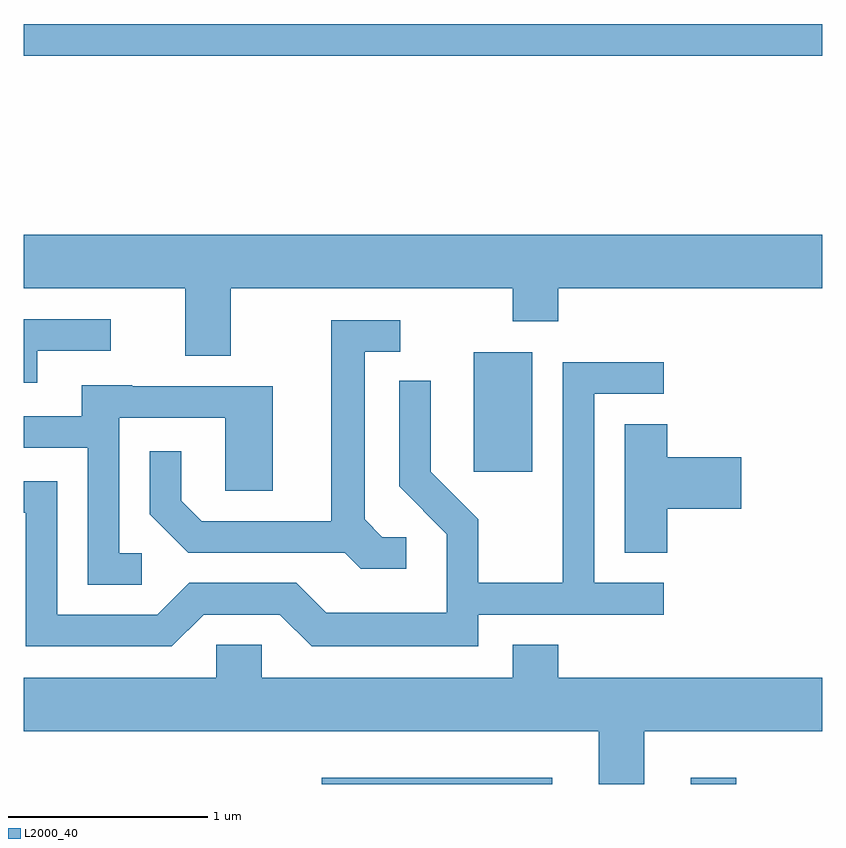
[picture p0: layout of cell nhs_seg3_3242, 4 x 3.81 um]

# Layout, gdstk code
import gdstk
lib = gdstk.Library(unit=1e-6, precision=1e-09)
def R(c, l, rs):  # rectangles x0, y0, x1, y1
    for r in rs: c.add(gdstk.rectangle(r[:2], r[2:], *l))
def P(c, l, *ps):  # polygons
    for p in ps: c.add(gdstk.Polygon(p, *l))
L2000_40 = (2000, 40)

nhs_seg3_3242 = lib.new_cell('nhs_seg3_3242')
R(nhs_seg3_3242, L2000_40, [(281.103,1207.892,282.259,1207.924), (282.951,1207.892,283.179,1207.924), (281.866,1209.456,282.159,1210.054), (279.611,1211.541,283.611,1211.699)])
P(nhs_seg3_3242, L2000_40, [(280.649,1210.376),(282.061,1210.376),(282.061,1210.211),(282.289,1210.211),(282.289,1210.376),(283.611,1210.376),(283.611,1210.644),(279.611,1210.644),(279.611,1210.376),(280.421,1210.376),(280.421,1210.036),(280.649,1210.036)],
  [(279.679,1210.061),(280.048,1210.061),(280.048,1210.219),(279.611,1210.219),(279.611,1209.901),(279.679,1209.901)],
  [(281.528,1209.129),(281.407,1209.129),(281.319,1209.217),(281.319,1210.056),(281.498,1210.056),(281.498,1210.214),(281.151,1210.214),(281.151,1209.209),(280.502,1209.209),(280.399,1209.312),(280.399,1209.558),(280.241,1209.558),(280.241,1209.244),(280.434,1209.051),(281.219,1209.051),(281.299,1208.971),(281.528,1208.971)],
  [(280.512,1208.741),(280.894,1208.741),(281.054,1208.581),(281.889,1208.581),(281.889,1208.741),(282.818,1208.741),(282.818,1208.899),(282.469,1208.899),(282.469,1209.846),(282.818,1209.846),(282.818,1210.004),(282.311,1210.004),(282.311,1208.899),(281.889,1208.899),(281.889,1209.217),(281.649,1209.457),(281.649,1209.913),(281.491,1209.913),(281.491,1209.384),(281.731,1209.144),(281.731,1208.749),(281.127,1208.749),(280.977,1208.899),(280.439,1208.899),(280.279,1208.739),(279.779,1208.739),(279.779,1209.409),(279.611,1209.409),(279.611,1209.251),(279.621,1209.251),(279.621,1208.581),(280.352,1208.581)],
  [(280.203,1209.049),(280.089,1209.049),(280.089,1209.726),(280.621,1209.726),(280.621,1209.361),(280.859,1209.361),(280.859,1209.884),(280.155,1209.884),(280.155,1209.889),(279.901,1209.889),(279.901,1209.734),(279.611,1209.734),(279.611,1209.576),(279.931,1209.576),(279.931,1208.891),(280.203,1208.891)],
  [(282.834,1209.271),(283.204,1209.271),(283.204,1209.529),(282.834,1209.529),(282.834,1209.694),(282.621,1209.694),(282.621,1209.051),(282.834,1209.051)],
  [(282.719,1208.156),(283.611,1208.156),(283.611,1208.424),(282.289,1208.424),(282.289,1208.589),(282.061,1208.589),(282.061,1208.424),(280.804,1208.424),(280.804,1208.589),(280.576,1208.589),(280.576,1208.424),(279.611,1208.424),(279.611,1208.156),(282.491,1208.156),(282.491,1207.892),(282.719,1207.892)])

lib.write_gds('nhs_seg3_3242.gds')
